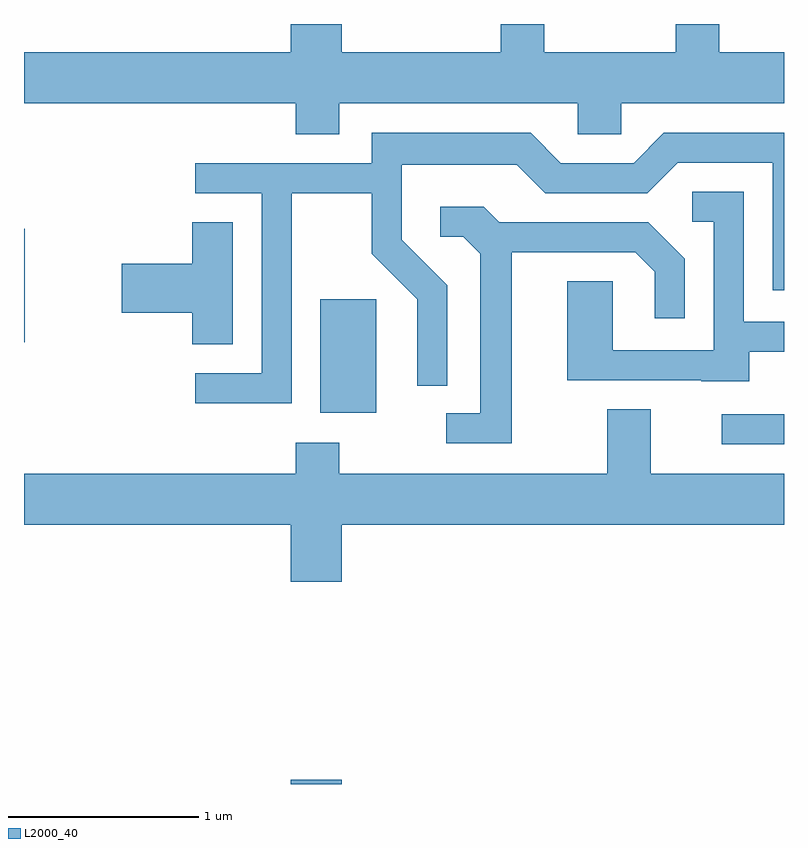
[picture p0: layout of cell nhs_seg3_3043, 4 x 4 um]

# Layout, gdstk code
import gdstk
lib = gdstk.Library(unit=1e-6, precision=1e-09)
def R(c, l, rs):  # rectangles x0, y0, x1, y1
    for r in rs: c.add(gdstk.rectangle(r[:2], r[2:], *l))
def P(c, l, *ps):  # polygons
    for p in ps: c.add(gdstk.Polygon(p, *l))
L2000_40 = (2000, 40)

nhs_seg3_3043 = lib.new_cell('nhs_seg3_3043')
R(nhs_seg3_3043, L2000_40, [(275.016,1217.892,275.284,1217.914), (277.283,1219.681,277.611,1219.839), (275.171,1219.846,275.464,1220.444), (273.611,1220.216,273.614,1220.814)])
P(nhs_seg3_3043, L2000_40, [(275.269,1221.476),(276.526,1221.476),(276.526,1221.311),(276.754,1221.311),(276.754,1221.476),(277.611,1221.476),(277.611,1221.744),(277.269,1221.744),(277.269,1221.892),(277.041,1221.892),(277.041,1221.744),(276.349,1221.744),(276.349,1221.892),(276.121,1221.892),(276.121,1221.744),(275.284,1221.744),(275.284,1221.892),(275.016,1221.892),(275.016,1221.744),(273.611,1221.744),(273.611,1221.476),(275.041,1221.476),(275.041,1221.311),(275.269,1221.311)],
  [(275.019,1221.001),(275.441,1221.001),(275.441,1220.684),(275.681,1220.444),(275.681,1219.988),(275.839,1219.988),(275.839,1220.517),(275.599,1220.757),(275.599,1221.151),(276.204,1221.151),(276.354,1221.001),(276.892,1221.001),(277.052,1221.161),(277.551,1221.161),(277.551,1220.491),(277.611,1220.491),(277.611,1221.319),(276.979,1221.319),(276.819,1221.159),(276.437,1221.159),(276.277,1221.319),(275.441,1221.319),(275.441,1221.159),(274.513,1221.159),(274.513,1221.001),(274.861,1221.001),(274.861,1220.054),(274.513,1220.054),(274.513,1219.896),(275.019,1219.896)],
  [(277.429,1220.166),(277.611,1220.166),(277.611,1220.324),(277.399,1220.324),(277.399,1221.009),(277.128,1221.009),(277.128,1220.851),(277.241,1220.851),(277.241,1220.174),(276.709,1220.174),(276.709,1220.539),(276.471,1220.539),(276.471,1220.016),(277.175,1220.016),(277.175,1220.011),(277.429,1220.011)],
  [(276.179,1220.691),(276.829,1220.691),(276.931,1220.589),(276.931,1220.343),(277.089,1220.343),(277.089,1220.657),(276.897,1220.849),(276.112,1220.849),(276.032,1220.929),(275.803,1220.929),(275.803,1220.771),(275.924,1220.771),(276.011,1220.684),(276.011,1219.844),(275.833,1219.844),(275.833,1219.686),(276.179,1219.686)],
  [(274.709,1220.849),(274.496,1220.849),(274.496,1220.629),(274.126,1220.629),(274.126,1220.371),(274.496,1220.371),(274.496,1220.206),(274.709,1220.206)],
  [(275.284,1219.256),(277.611,1219.256),(277.611,1219.524),(276.909,1219.524),(276.909,1219.864),(276.681,1219.864),(276.681,1219.524),(275.269,1219.524),(275.269,1219.689),(275.041,1219.689),(275.041,1219.524),(273.611,1219.524),(273.611,1219.256),(275.016,1219.256),(275.016,1218.956),(275.284,1218.956)])

lib.write_gds('nhs_seg3_3043.gds')
